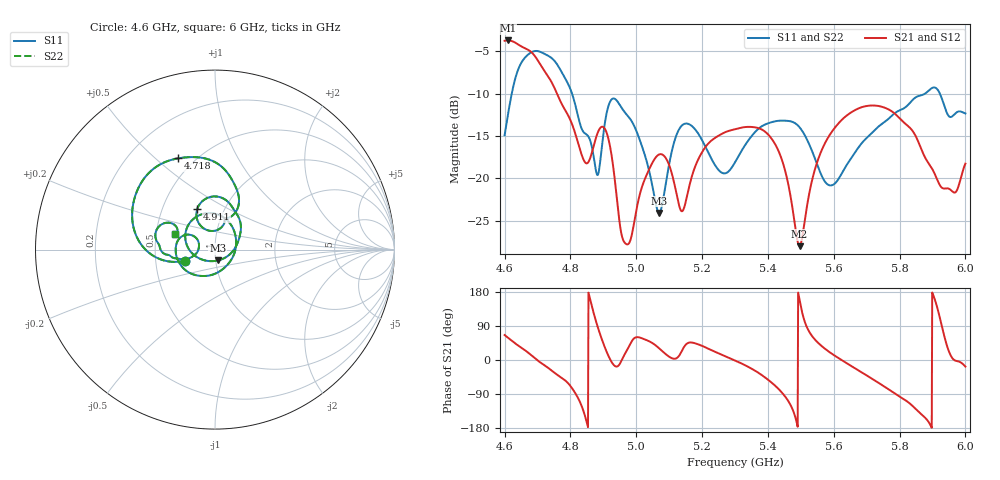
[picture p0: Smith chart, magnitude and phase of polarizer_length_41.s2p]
! TOUCHSTONE file generated by CST MICROWAVE STUDIO
! Date and time: Sun Dec  1 17:16:56 2024
! Project name: test_tuning.cst
! Parameters = {airCoaxOuterDiameter=3; chamferAngle=45; chamferWidth=24; connectorLength=10; drillingHoleDiameter=4.1; feedLength=60; flareDiameter=130; flareLength=70; gratingDistance=0; gratingGap=1.90274; outletLength=30; polarizerLength=144; probe1Diameter=1.3; probe1Distance=14; probe1Length=1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
! Header version: 2024
! Port assignment regex: !\s*Touchstone port\s*([0-9]+)\s*=\s*(CST MWS port|CST DES external port|CST DES block port)\s*(.+)\s* \(\"(.*)\"\)(\s*mode\s*([0-9]+))?.*
! Touchstone port assignment:
! Touchstone port 1 = CST MWS port 1 ("Input1")
! Touchstone port 2 = CST MWS port 2 ("Input2")
# GHz S MA R 50
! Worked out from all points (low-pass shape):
!   1001 points, 4.6 GHz to 6 GHz, reference 50 ohm
!   highest |S21| = -3.71 dB at 4.61 GHz (marker M1); lowest = -28.0 dB at 5.496 GHz (marker M2)
!   |S21| within 3 dB of the highest: start of sweep to 4.711 GHz
!   lowest |S11| = -24.1 dB at 5.069 GHz (marker M3), VSWR 1.13, Z = 51.1 - j6.22 ohm
!   |S11| at or under -10 dB: start of sweep to 4.621652 GHz; 4.805 GHz to 5.877 GHz (1.072 GHz wide, 20.1 % of centre); 5.923 GHz to end of sweep
!   |S22| runs from -24.1 to -4.9 dB; largest |S21 - S12| = 1.1e-06
!   S11 on the Smith chart (normalised r, x): 4.6 GHz: 0.71, -0.09; 4.718 GHz: 0.41, +0.59; 4.911 GHz: 0.75, +0.36; 6 GHz: 0.62, +0.11
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4.6  0.1796 -159.4  0.6499 65.9  0.6499 65.9  0.1796 -159.4
4.6098  0.2355 -163.1  0.6526 59.2  0.6526 59.2  0.2355 -163.1
4.6574  0.504 156.3  0.5925 28.5  0.5925 28.5  0.504 156.3
4.7176  0.5484 112.0  0.4412 -11.9  0.4412 -11.9  0.5484 112.0
4.7778  0.4095 77.5  0.2654 -49.6  0.2654 -49.6  0.4095 77.5
4.8338  0.197 65.8  0.1382 -120.8  0.1382 -120.8  0.197 65.8
4.8828  0.1045 96.6  0.1858 87.5  0.1858 87.5  0.1045 96.6
4.9108  0.2468 113.6  0.1839 20.0  0.1839 20.0  0.2468 113.6
4.9696  0.2397 62.0  0.04081 22.5  0.04081 22.5  0.2397 62.0
5.0676  0.06275 -70.7  0.1377 32.3  0.1377 32.3  0.06275 -70.7
5.069  0.06244 -76.1  0.1381 31.2  0.1381 31.2  0.06244 -76.1
5.1432  0.2084 127.0  0.06526 31.6  0.06526 31.6  0.2084 127.0
5.2174  0.1436 39.7  0.1593 30.4  0.1593 30.4  0.1436 39.7
5.3  0.1242 -78.3  0.1949 -1.3  0.1949 -1.3  0.1242 -78.3
5.4218  0.2171 -168.4  0.1591 -67.7  0.1591 -67.7  0.2171 -168.4
5.496  0.2003 158.9  0.03967 159.3  0.03967 159.3  0.2003 158.9
5.5338  0.1454 147.8  0.0967 63.6  0.0967 63.6  0.1454 147.8
5.5968  0.09126 176.5  0.1913 15.0  0.1913 15.0  0.09126 176.5
5.7676  0.2257 -167.5  0.2546 -77.9  0.2546 -77.9  0.2257 -167.5
5.8586  0.3068 178.1  0.1615 -137.1  0.1615 -137.1  0.3068 178.1
5.93  0.2903 149.2  0.08753 83.8  0.08753 83.8  0.2903 149.2
6  0.2415 159.0  0.122 -17.4  0.122 -17.4  0.2415 159.0
